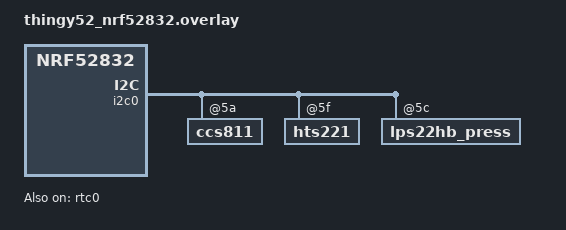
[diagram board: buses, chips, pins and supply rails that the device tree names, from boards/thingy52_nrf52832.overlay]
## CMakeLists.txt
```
cmake_minimum_required(VERSION 3.20.0)
find_package(Zephyr REQUIRED HINTS $ENV{ZEPHYR_BASE})
project(prac2)

# Collect all the source files in app/prac2/src
FILE(GLOB app_sources src/*.c)

# Collect all the source files in lib. Note that
# the path given needs to be relative to the
# CMakeLists root, which is app/prac2 here,
# hence the ../../lib.c.
FILE(GLOB lib_sources ../../lib/*.c)

# Tell CMake to build with the app and lib sources
target_sources(app PRIVATE ${app_sources} ${lib_sources})

# Tell CMake where our header files are
target_include_directories(app PRIVATE ../../include)
```

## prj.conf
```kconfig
CONFIG_SHELL=y
CONFIG_LOG=y
CONFIG_LOG_CMDS=y
CONFIG_SHELL_AUTOSTART=y

CONFIG_GPIO=y
CONFIG_HEAP_MEM_POOL_SIZE=4096

CONFIG_COUNTER=y
CONFIG_PRINTK=y

CONFIG_UART_RTT=y
CONFIG_UART_CONSOLE=n
CONFIG_RTT_CONSOLE=y
CONFIG_USE_SEGGER_RTT=y
CONFIG_SHELL_BACKEND_RTT=y

CONFIG_SHELL_LOG_BACKEND=y

CONFIG_LOG_BACKEND_RTT_BUFFER=1
CONFIG_LOG_BACKEND_RTT_BUFFER_SIZE=256
CONFIG_SHELL_BACKEND_RTT_BUFFER=0
CONFIG_SEGGER_RTT_BUFFER_SIZE_UP=1024
CONFIG_SEGGER_RTT_BUFFER_SIZE_DOWN=64

CONFIG_NEWLIB_LIBC=y
CONFIG_NEWLIB_LIBC_FLOAT_PRINTF=y
CONFIG_CBPRINTF_FP_SUPPORT=y

CONFIG_SENSOR=y
CONFIG_I2C=y

CONFIG_JSON_LIBRARY=y
```

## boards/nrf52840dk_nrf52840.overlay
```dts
&rtc0 {
    status = "okay";
	compatible = "nordic,nrf-rtc";

};

/{
    leds {
        gpio_clk: clk {
	        gpios = <&gpio0 4 GPIO_ACTIVE_HIGH>;
        };

        gpio_data: data {
	        gpios = <&gpio0 3 GPIO_ACTIVE_HIGH>;
        };
    };
    
    aliases {
        rtc = &rtc0;
    };
};
```

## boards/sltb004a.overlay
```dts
&rtcc0 {
    status = "okay";
	compatible = "silabs,gecko-rtcc";
};

/{  
    aliases {
        rtc = &rtcc0;
        gassensor = &ccs811;
    };
};

&i2c1 {
    ccs811: ccs811@5a {
		status = "okay";
	};
};
```

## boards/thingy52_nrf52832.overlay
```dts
/{  
    aliases {
        rtc = &rtc0;
        gassensor = &ccs811;
        temphumsensor = &hts221;
        pressuresensor = &lps22hb_press;
    };

    buttons {
        button0: button_0 {
            status = "okay";
        };
    };
};

&rtc0 {
    status = "okay";
	compatible = "nordic,nrf-rtc";
};

&i2c0 {
    ccs811: ccs811@5a {
		status = "okay";
	};

    hts221: hts221@5f {
		status = "okay";
    };

    lps22hb_press: lps22hb_press@5c {
		status = "okay";
    };

};
```

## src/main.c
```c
#include <stdio.h>
#include <stdlib.h>
#include <zephyr/kernel.h>
#include <zephyr/shell/shell.h>
#include <zephyr/drivers/uart.h>
#include <zephyr/logging/log.h>
#include <zephyr/drivers/gpio.h>
#include <zephyr/sys/mpsc_lockfree.h>
#include <zephyr/data/json.h>
#include <SEGGER_RTT.h>
#include "rtc.h"
#include "sensor.h"

// thread macros
#define STACK_SIZE 4096
#define SHELL_THREAD_PRIORITY 5
#define SAMPLE_THREAD_PRIORITY 6

// global vars
char* sensorNames[] = {"Temperature", "Humidity", "Pressure", "VOC"};
uint32_t sampleRate = 1000;
uint8_t sensorEnable[4] = {0};
struct k_sem* sensorSems[] = {&temp_sem, &humid_sem, &pressure_sem, &gas_sem};
uint8_t lastSampled = 16;

static uint8_t channel1UpBuf[1024];
static uint8_t channel1DownBuf[64];
static uint8_t channel0UpBuf[1024];
static uint8_t channel0DownBuf[64];

const struct shell* sh_p;

// prototypes
void uartshell_thread();
void sensor_handler();
void rtc_read();
void rtc_write();
void sample_start();
void sample_stop();
void sample_time_set();
void sampling_thread();

// shell commands
SHELL_CMD_ARG_REGISTER(sensor, NULL, "Returns the sensor value of the DID provided.", &sensor_handler, 2, 0);

SHELL_STATIC_SUBCMD_SET_CREATE(rtc_rw, SHELL_CMD_ARG(w, NULL, "Writes the system time.", &rtc_write, 2, 0), SHELL_CMD(r, NULL, "Read the current system time.", &rtc_read), SHELL_SUBCMD_SET_END);
SHELL_CMD_ARG_REGISTER(rtc, &rtc_rw, "Reads/write to the RTC.", NULL, 2, 1);

SHELL_STATIC_SUBCMD_SET_CREATE(sample_sub, SHELL_CMD_ARG(s, NULL, "Starts continuous sampling of the specified DID.", &sample_start, 2, 0), SHELL_CMD_ARG(p, NULL, "Stops continuous sampling of the specified DID.", &sample_stop, 2, 0), SHELL_CMD_ARG(w, NULL, "Sets the sampling time in seconds.", &sample_time_set, 2, 0), SHELL_SUBCMD_SET_END);
SHELL_CMD_ARG_REGISTER(sample, &sample_sub, "Starts/stops continuous sampling.", NULL, 3, 0);

K_THREAD_DEFINE(shell_tid, STACK_SIZE, uartshell_thread, NULL, NULL, NULL, SHELL_THREAD_PRIORITY, 0, 0);
const struct device* dev = DEVICE_DT_GET(DT_CHOSEN(zephyr_shell_uart));
LOG_MODULE_REGISTER(cli_module, LOG_LEVEL_DBG);

K_THREAD_DEFINE(sample_tid, STACK_SIZE, sampling_thread, NULL, NULL, NULL, SAMPLE_THREAD_PRIORITY, 0, 0);

const struct gpio_dt_spec button = GPIO_DT_SPEC_GET(DT_ALIAS(sw0), gpios);
static struct gpio_callback button_cb_data;

void button_pressed(const struct device *dev, struct gpio_callback *cb, uint32_t pins) {
	if (lastSampled == 16) {
		LOG_ERR("No sampling has been selected yet.");
		return;
	}
	if (lastSampled == 15) {
		for (int i = 0; i < 4; i++) {
			sensorEnable[i] = !sensorEnable[i];
		}
	} else {
		sensorEnable[lastSampled] = !sensorEnable[lastSampled];
	}
}

// thread to initialise the shell
void uartshell_thread() {
	k_sched_lock();

	init_rtc();
	
	uint32_t dtr = 0;

	gpio_pin_configure_dt(&button, GPIO_INPUT);

	gpio_pin_interrupt_configure_dt(&button, GPIO_INT_EDGE_TO_ACTIVE);

	gpio_init_callback(&button_cb_data, button_pressed, BIT(button.pin));
	gpio_add_callback(button.port, &button_cb_data);

	k_sched_unlock();

    if (!device_is_ready(dev)) {
		LOG_ERR("device not ready");
	}	
	
	SEGGER_RTT_Init();

	SEGGER_RTT_ConfigUpBuffer(0, "CHANNEL 0", channel0UpBuf, 1024, SEGGER_RTT_MODE_BLOCK_IF_FIFO_FULL);
	SEGGER_RTT_ConfigDownBuffer(0, "CHANNEL 0", channel0DownBuf, 64, SEGGER_RTT_MODE_BLOCK_IF_FIFO_FULL);

	SEGGER_RTT_ConfigUpBuffer(1, "CHANNEL 1", channel1UpBuf, 1024, SEGGER_RTT_MODE_BLOCK_IF_FIFO_FULL);
	SEGGER_RTT_ConfigDownBuffer(1, "CHANNEL 1", channel1DownBuf, 64, SEGGER_RTT_MODE_BLOCK_IF_FIFO_FULL);

	while (!dtr) {
		uart_line_ctrl_get(dev, UART_LINE_CTRL_DTR, &dtr);
		k_sleep(K_MSEC(100));
	}
}

// handler to write to rtc
void rtc_write(const struct shell *sh, int argc, char** argv) {
	uint32_t num = atoll(argv[1]);
	set_time(num);
}

// handler for shell rtc read
void rtc_read(const struct shell *sh) {
	uint32_t hour = 0;
	uint32_t min = 0;
	uint32_t sec = get_time();
	if (sec >= 60) {
		min = sec / 60;
		sec %= 60;
	}
	if (min >= 60) {
		hour = (min / 60);
		min %= 60;
	}
	shell_print(sh, "\r\n   CURRENT TIME\r\nHours:   %10d\r\nMinutes: %10d\r\nSeconds: %10d\r\n", hour, min, sec);
}

void pop_node() {
	// to get from queue (put in main)
	struct mpsc_node* node = mpsc_pop(&queue);
	while (!node) {
		node = mpsc_pop(&queue);
	}
	struct custom_mpsc_node *custom_node = (struct custom_mpsc_node *)node;
	float data = custom_node->data;
	enum SensorID sensorDevice = custom_node->sensor;

	shell_print(sh_p, "%s: %f\r\n", sensorNames[sensorDevice], data);

	k_free(node);
}

void sensor_handler(const struct shell *sh, int argc, char** argv) {
	sh_p = sh;
	uint8_t did = atoi(argv[1]);
	if (did == 0 && strcmp(argv[1], "0")) {
		LOG_ERR("Not a valid DID.");
		return;
	}

	if (did != 0 && did != 1 && did != 2 && did != 3 && did != 15) {
		LOG_ERR("Device not implemented.");
		return;
	}
	if (did == 15) {
		for (int i = 0; i < 4; i++) {
			k_sem_give(sensorSems[i]);
			pop_node();
		}
	} else {
		k_sem_give(sensorSems[atoi(argv[1])]);
		pop_node();
	}
}

void sample_start(const struct shell *sh, int argc, char** argv) {
	sh_p = sh;
	uint8_t did = atoi(argv[1]);
	if (did == 0 && strcmp(argv[1], "0")) {
		LOG_ERR("Not a valid DID.");
		return;
	}
	if (did != 0 && did != 1 && did != 2 && did != 3 && did != 15) {
		LOG_ERR("Device not implemented.");
		return;
	}
	if (did == 15) {
		lastSampled = 15;
		for (int i = 0; i < 4; i++) {
			sensorEnable[i] = 1;
		}
	} else {
		lastSampled = did;
		sensorEnable[did] = 1;
	}
}

void sample_stop(const struct shell *sh, int argc, char** argv) {
	uint8_t did = atoi(argv[1]);
	if (did == 0 && strcmp(argv[1], "0")) {
		LOG_ERR("Not a valid DID.");
		return;
	}
	if (did != 0 && did != 1 && did != 2 && did != 3 && did != 15) {
		LOG_ERR("Device not implemented.");
		return;
	}
	if (did == 15) {
		lastSampled = 15;
		for (int i = 0; i < 4; i++) {
			sensorEnable[i] = 0;
		}
	} else {
		lastSampled = did;
		sensorEnable[did] = 0;
	}
}

void sample_time_set(const struct shell *sh, int argc, char** argv) {
	if (atoi(argv[1]) <= 0) {
		LOG_ERR("Invalid sample rate.");
		sampleRate = 1;
	} else {
		sampleRate = (atoi(argv[1])* 1000);
	}
}

void get_time_str(char buf[9]) {
	uint32_t hour = 0;
	uint32_t min = 0;
	uint32_t sec = get_time();
	if (sec >= 60) {
		min = sec / 60;
		sec %= 60;
	}
	if (min >= 60) {
		hour = (min / 60);
		min %= 60;
	}
	sprintf(buf, "%02d:%02d:%02d", hour, min, sec);
}

struct sensorData{
	int did;
	char* time;
	char* value[4];
	size_t values_len;
};

static const struct json_obj_descr sensor_descr[] = {
	JSON_OBJ_DESCR_PRIM(struct sensorData, did, JSON_TOK_NUMBER),
	JSON_OBJ_DESCR_PRIM(struct sensorData, time, JSON_TOK_STRING),
	JSON_OBJ_DESCR_ARRAY(struct sensorData, value, 4, values_len, JSON_TOK_STRING),
};

void pop_sampling() {
	// to get from queue (put in main)
	if (sensorEnable[0] == 1 && sensorEnable[1] == 1 && sensorEnable[2] == 1 && sensorEnable[3] == 1) {
		// DID 15
		struct sensorData sData;

		sData.did = 15;

		char time_str[9];
		get_time_str(time_str);
		sData.time = (char*) k_malloc(sizeof(char) * 50);
		strcpy(sData.time, time_str);

		sData.values_len = 4;

		for (int i = 0; i < 4; i++) {
			struct mpsc_node* node = mpsc_pop(&queue);
			while (!node) {
				node = mpsc_pop(&queue);
			}
			struct custom_mpsc_node *custom_node = (struct custom_mpsc_node *)node;
			char float_str[16];
			sprintf(float_str, "%f", custom_node->data);
			sData.value[i] = (char*) k_malloc(sizeof(char) * 50);
			strcpy(sData.value[i], float_str);
			k_free(node);
		}

		char jason_buf[128];
		json_obj_encode_buf(sensor_descr, 3, &sData, jason_buf, 128);
	
		shell_print(sh_p, "%s\r\n", jason_buf);
		strcat(jason_buf, "\n");
		SEGGER_RTT_WriteString(1, jason_buf);

		k_free(sData.time);
		for (int i = 0; i < 4; i++) {
			k_free(sData.value[i]);
		}
	} else {
		struct mpsc_node* node = mpsc_pop(&queue);
		while (!node) {
			node = mpsc_pop(&queue);
		}
		struct custom_mpsc_node *custom_node = (struct custom_mpsc_node *)node;

		struct sensorData sData;

		sData.did = custom_node->sensor;

		char time_str[9];
		get_time_str(time_str);
		sData.time = (char*) k_malloc(sizeof(char) * 50);
		strcpy(sData.time, time_str);

		char float_str[16];
		sprintf(float_str, "%f", custom_node->data);
		sData.value[0] = (char*) k_malloc(sizeof(char) * 50);
		strcpy(sData.value[0], float_str);

		sData.values_len = 1;

		char jason_buf[128];
		json_obj_encode_buf(sensor_descr, 3, &sData, jason_buf, 128);
	
		shell_print(sh_p, "%s\r\n", jason_buf);
		strcat(jason_buf, "\n");
		SEGGER_RTT_WriteString(1, jason_buf);

		k_free(sData.time);
		k_free(sData.value[0]);
		k_free(node);
	}
}

void sampling_thread() {
	while (1) {
		if (sensorEnable[0] == 1 && sensorEnable[1] == 1 && sensorEnable[2] == 1 && sensorEnable[3] == 1) {
			for (int i = 0; i < 4; i++) {
				k_sem_give(sensorSems[i]);
			}
			pop_sampling();
		} else {
			for (int i = 0; i < 4; i++) {
				if (sensorEnable[i]) {
					k_sem_give(sensorSems[i]);
					pop_sampling();
				}
			}
		}
		k_msleep(sampleRate);
	}
}
```
